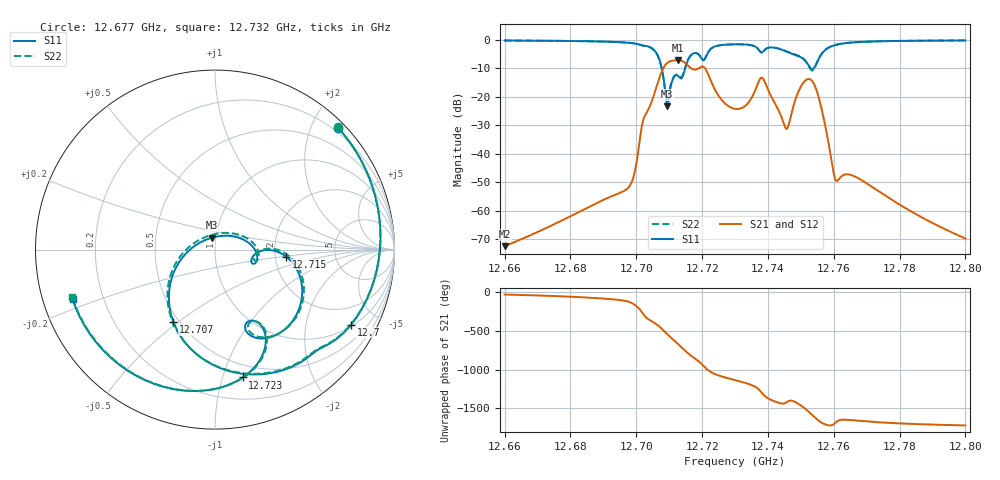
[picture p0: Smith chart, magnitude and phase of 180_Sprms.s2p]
! TOUCHSTONE file generated by CST MICROWAVE STUDIO
! Date and time: Wed Jul 31 19:59:18 2024
! Project name: WaveGuide_BPF-Ver4.1_U-shape_Ku_T3_C4_CWA_2.cst
! Parameters = {cavity_h=16; cavity_l0=10; cavity_l1=15.202; cavity_l2=16.824; cavity_l3=17.1249; cavity_l4=17.2248; cavity_l5=17.1619; cavity_l6=17.6214; cavity_r=2.5; cavity_screw_l=0.5; cavity_screw_r=1.5; cavity_w=8; iris_h00=0; iris_h01=8.8353; iris_h112=0; iris_h12=5.6002; iris_h211=3.6599; ir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
! Header version: 2018
! Port assignment regex: !\s*Touchstone port\s*([0-9]+)\s*=\s*(CST MWS port|CST DS port)\s*([0-9]+|Zmin|Zmax)\s*\(\"(.*)\"\)(\s*mode\s*([0-9]+))?.*
! Touchstone port assignment:
! Touchstone port 1 = CST MWS port 1 ("")
! Touchstone port 2 = CST MWS port 2 ("")
# GHz S RI R 50
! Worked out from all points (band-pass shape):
!   5001 points, 12.66 GHz to 12.8 GHz, reference 50 ohm
!   highest |S21| = -7.14 dB at 12.713 GHz (marker M1); lowest = -72.5 dB at 12.66 GHz (marker M2)
!   |S21| within 3 dB of the highest: 12.70812 GHz to 12.71692 GHz (8.8 MHz wide, 0.0692 % of centre); 12.71867 GHz to 12.72101 GHz (2.341 MHz wide, 0.0184 % of centre)
!   lowest |S11| = -23.3 dB at 12.709 GHz (marker M3), VSWR 1.15, Z = 47.7 + j6.3 ohm
!   |S11| at or under -10 dB: 12.70777 GHz to 12.71484 GHz (7.069 MHz wide, 0.0556 % of centre); 12.75309 GHz to 12.75389 GHz (806.6 kHz wide, 0.00632 % of centre)
!   |S22| runs from -21.5 to -0.2 dB; largest |S21 - S12| = 1e-09
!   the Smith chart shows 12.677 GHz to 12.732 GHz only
!   S11 on the Smith chart (normalised r, x): 12.677 GHz: 0.12, +2.43; 12.7 GHz: 1.07, -3.58; 12.707 GHz: 0.47, -0.48; 12.715 GHz: 2.30, -0.21; 12.723 GHz: 0.38, -1.17; 12.732 GHz: 0.09, -0.17
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12.66  0.388 0.8992  0.000212 -0.000108  0.000212 -0.000108  0.3853 0.9004
12.67716  0.6871 0.6773  0.000427 -0.000507  0.000427 -0.000507  0.6836 0.6811
12.68335  0.805 0.5134  0.000468 -0.000885  0.000468 -0.000885  0.8019 0.5186
12.6997  0.7581 -0.4183  -0.00519 -0.00129  -0.00519 -0.00129  0.7569 -0.4163
12.70668  -0.1954 -0.4762  0.0644 -0.1757  0.0644 -0.1757  -0.2126 -0.4523
12.70698  -0.2318 -0.4024  0.0346 -0.2092  0.0346 -0.2092  -0.2462 -0.375
12.70942  -0.0195 0.0658  -0.3953 -0.00103  -0.3953 -0.00103  -0.00961 0.0844
12.71261  0.2234 -0.0762  0.2521 0.3603  0.2521 0.3603  0.2355 -0.058
12.71538  0.3956 -0.0385  0.2087 -0.3055  0.2087 -0.3055  0.4033 -0.0292
12.71919  0.2208 -0.4893  -0.3242 0.00391  -0.3242 0.00391  0.2393 -0.4849
12.72308  0.1547 -0.7121  0.1316 0.105  0.1316 0.105  0.1601 -0.7114
12.73  -0.6998 -0.4657  0.0353 -0.0506  0.0353 -0.0506  -0.7016 -0.4585
12.73168  -0.7936 -0.2763  0.0173 -0.0601  0.0173 -0.0601  -0.7948 -0.265
12.73804  -0.5076 0.3258  -0.1799 0.1237  -0.1799 0.1237  -0.4946 0.3417
12.74207  -0.187 0.7069  0.0691 0.0363  0.0691 0.0363  -0.154 0.714
12.74644  0.5795 0.1491  0.0278 0.0203  0.0278 0.0203  0.5937 0.1371
12.74974  0.0316 -0.5055  0.1364 -0.0386  0.1364 -0.0386  0.0569 -0.514
12.75335  -0.145 0.2728  -0.1542 -0.1154  -0.1542 -0.1154  -0.1387 0.2564
12.75626  0.526 -0.1962  -0.0263 0.0573  -0.0263 0.0573  0.5232 -0.2213
12.76069  -0.0593 -0.8194  -0.00161 0.00298  -0.00161 0.00298  -0.0675 -0.8223
12.77668  -0.9241 -0.2469  -0.000586 0.00158  -0.000586 0.00158  -0.9237 -0.2482
12.8  -0.9405 0.2797  7.34e-05 0.000316  7.34e-05 0.000316  -0.9404 0.28
